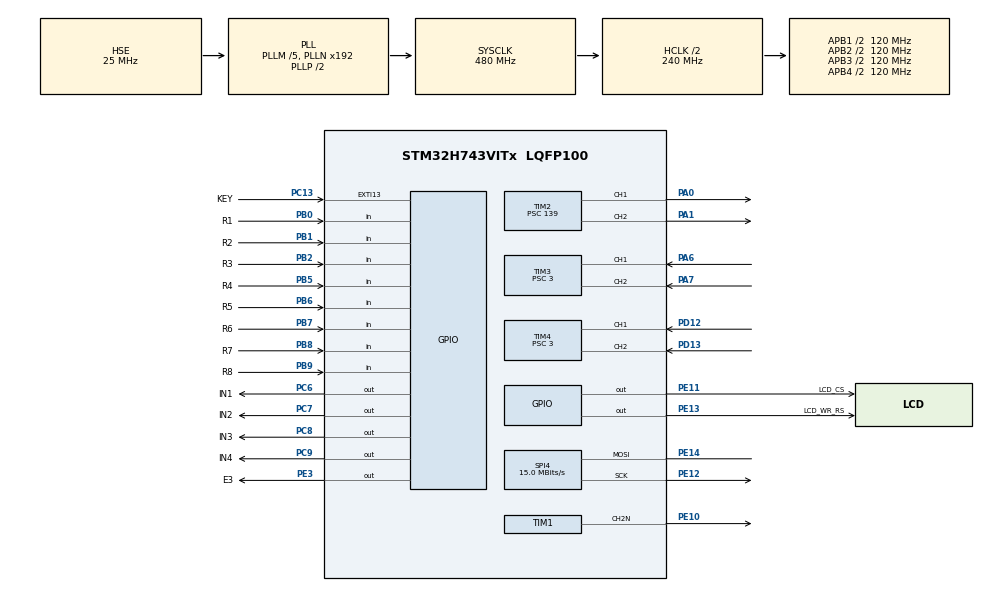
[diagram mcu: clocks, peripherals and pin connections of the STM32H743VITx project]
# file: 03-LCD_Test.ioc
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Mcu.Family=STM32H7
Mcu.Name=STM32H743VITx
Mcu.Package=LQFP100
NVIC.PriorityGroup=NVIC_PRIORITYGROUP_4
NVIC.TIM7_IRQn=true\:0\:0\:false\:false\:true\:true\:true
PA0.Signal=S_TIM2_CH1
PA1.Signal=S_TIM2_CH2
PA13\ (JTMS/SWDIO).Mode=Serial_Wire
PA13\ (JTMS/SWDIO).Signal=DEBUG_JTMS-SWDIO
PA14\ (JTCK/SWCLK).Mode=Serial_Wire
PA14\ (JTCK/SWCLK).Signal=DEBUG_JTCK-SWCLK
PA6.Signal=S_TIM3_CH1
PA7.Signal=S_TIM3_CH2
PB0.GPIO_Label=R1
PB0.Signal=GPIO_Input
PB1.GPIO_Label=R2
PB1.Signal=GPIO_Input
PB2.GPIO_Label=R3
PB2.Signal=GPIO_Input
PB5.GPIO_Label=R4
PB5.Signal=GPIO_Input
PB6.GPIO_Label=R5
PB6.Signal=GPIO_Input
PB7.GPIO_Label=R6
PB7.Signal=GPIO_Input
PB8.GPIO_Label=R7
PB8.Signal=GPIO_Input
PB9.GPIO_Label=R8
PB9.Signal=GPIO_Input
PC13.GPIO_Label=KEY
PC13.Signal=GPXTI13
PC14-OSC32_IN\ (OSC32_IN).Mode=LSE-External-Oscillator
PC14-OSC32_IN\ (OSC32_IN).Signal=RCC_OSC32_IN
PC15-OSC32_OUT\ (OSC32_OUT).Mode=LSE-External-Oscillator
PC15-OSC32_OUT\ (OSC32_OUT).Signal=RCC_OSC32_OUT
PC6.GPIO_Label=IN1
PC6.Signal=GPIO_Output
PC7.GPIO_Label=IN2
PC7.Signal=GPIO_Output
PC8.GPIO_Label=IN3
PC8.Signal=GPIO_Output
PC9.GPIO_Label=IN4
PC9.Signal=GPIO_Output
PD12.Signal=S_TIM4_CH1
PD13.Signal=S_TIM4_CH2
PE10.Mode=PWM Generation2 CH2N
PE10.Signal=TIM1_CH2N
PE11.GPIO_Label=LCD_CS
PE11.GPIO_Speed=GPIO_SPEED_FREQ_VERY_HIGH
PE11.PinState=GPIO_PIN_SET
PE11.Signal=GPIO_Output
PE12.GPIO_Speed=GPIO_SPEED_FREQ_HIGH
PE12.Mode=Simplex_Bidirectional_Master
PE12.Signal=SPI4_SCK
PE13.GPIO_Label=LCD_WR_RS
PE13.GPIO_Speed=GPIO_SPEED_FREQ_VERY_HIGH
PE13.PinState=GPIO_PIN_SET
PE13.Signal=GPIO_Output
PE14.GPIO_Speed=GPIO_SPEED_FREQ_HIGH
PE14.Mode=Simplex_Bidirectional_Master
PE14.Signal=SPI4_MOSI
PE3.GPIO_Label=E3
PE3.PinState=GPIO_PIN_RESET
PE3.Signal=GPIO_Output
PH0-OSC_IN\ (PH0).Mode=HSE-External-Oscillator
PH0-OSC_IN\ (PH0).Signal=RCC_OSC_IN
PH1-OSC_OUT\ (PH1).Mode=HSE-External-Oscillator
PH1-OSC_OUT\ (PH1).Signal=RCC_OSC_OUT
ProjectManager.HeapSize=0x200
ProjectManager.StackSize=0x400
ProjectManager.TargetToolchain=MDK-ARM V5.27
RCC.ADCFreq_Value=83333333.33333333
RCC.APB1Freq_Value=120000000
RCC.APB2Freq_Value=120000000
RCC.APB3Freq_Value=120000000
RCC.APB4Freq_Value=120000000
RCC.CortexFreq_Value=480000000
RCC.D1PPRE=RCC_APB3_DIV2
RCC.D2PPRE1=RCC_APB1_DIV2
RCC.D2PPRE2=RCC_APB2_DIV2
RCC.D3PPRE=RCC_APB4_DIV2
RCC.DIVM1=5
RCC.DIVM2=6
RCC.DIVN1=192
RCC.DIVN2=40
RCC.DIVQ2=1
RCC.HCLKFreq_Value=240000000
RCC.HPRE=RCC_HCLK_DIV2
RCC.HSE_VALUE=25000000
RCC.PLLFRACN=0
RCC.PLLSourceVirtual=RCC_PLLSOURCE_HSE
RCC.RTCClockSelection=RCC_RTCCLKSOURCE_LSE
RCC.SYSCLKFreq_VALUE=480000000
RCC.SYSCLKSource=RCC_SYSCLKSOURCE_PLLCLK
RCC.USBFreq_Value=480000000
RTC.Hours=12
RTC.Month=RTC_MONTH_JUNE
RTC.Year=20
SH.S_TIM2_CH1.0=TIM2_CH1,PWM Generation1 CH1
SH.S_TIM2_CH2.0=TIM2_CH2,PWM Generation2 CH2
SH.S_TIM3_CH1.0=TIM3_CH1,Encoder_Interface
SH.S_TIM3_CH2.0=TIM3_CH2,Encoder_Interface
SH.S_TIM4_CH1.0=TIM4_CH1,Encoder_Interface
SH.S_TIM4_CH2.0=TIM4_CH2,Encoder_Interface
SPI4.BaudRatePrescaler=SPI_BAUDRATEPRESCALER_8
SPI4.CalculateBaudRate=15.0 MBits/s
SPI4.DataSize=SPI_DATASIZE_8BIT
SPI4.Direction=SPI_DIRECTION_1LINE
SPI4.Mode=SPI_MODE_MASTER
SPI4.VirtualType=VM_MASTER
TIM1.Channel-PWM\ Generation2\ CH2N=TIM_CHANNEL_2
TIM1.OCNPolarity_2=TIM_OCNPOLARITY_LOW
TIM1.Period=1000-1
TIM1.Prescaler=12-1
TIM2.AutoReloadPreload=TIM_AUTORELOAD_PRELOAD_ENABLE
TIM2.Channel-PWM\ Generation1\ CH1=TIM_CHANNEL_1
TIM2.Channel-PWM\ Generation2\ CH2=TIM_CHANNEL_2
TIM2.Period=999
TIM2.Prescaler=139
TIM3.AutoReloadPreload=TIM_AUTORELOAD_PRELOAD_ENABLE
TIM3.EncoderMode=TIM_ENCODERMODE_TI12
TIM3.Period=38999
TIM3.Prescaler=3
TIM4.AutoReloadPreload=TIM_AUTORELOAD_PRELOAD_ENABLE
TIM4.EncoderMode=TIM_ENCODERMODE_TI12
TIM4.Period=38999
TIM4.Prescaler=3
TIM7.AutoReloadPreload=TIM_AUTORELOAD_PRELOAD_ENABLE
TIM7.Period=999
TIM7.Prescaler=4399
VP_RTC_VS_RTC_Activate.Mode=RTC_Enabled
VP_RTC_VS_RTC_Calendar.Mode=RTC_Calendar
VP_TIM7_VS_ClockSourceINT.Mode=Enable_Timer
board=custom

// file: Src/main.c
/* USER CODE BEGIN Header */
/**
  ******************************************************************************
  * @file           : main.c
  * @brief          : Main program body
  ******************************************************************************
  * @attention
  *
  * <h2><center>&copy; Copyright (c) 2020 STMicroelectronics.
  * All rights reserved.</center></h2>
  *
  * This software component is licensed by ST under BSD 3-Clause license,
  * the "License"; You may not use this file except in compliance with the
  * License. You may obtain a copy of the License at:
  *                        opensource.org/licenses/BSD-3-Clause
  *
  ******************************************************************************
  */
/* USER CODE END Header */
#include "main.h"
#include "rtc.h"
#include "spi.h"
#include "tim.h"
#include "gpio.h"

/* USER CODE BEGIN Includes */
#include "lcd.h"
#include "pid.h"
#include "control.h"
#include "stdlib.h"
#include "stdio.h"
#include "string.h"
/* USER CODE END Includes */

/* USER CODE BEGIN PTD */
static uint8_t Motor = 0;
static uint16_t Xunlu = 1;
uint8_t Mode_Set = 0 ;

/* USER CODE END PTD */

void SystemClock_Config(void);

/* USER CODE BEGIN 0 */
static void MPU_Config(void)
{
  MPU_Region_InitTypeDef MPU_InitStruct = {0};

  /* Disables the MPU */
  HAL_MPU_Disable();

	/* Configure the MPU attributes for the QSPI 256MB without instruction access */
  MPU_InitStruct.Enable           = MPU_REGION_ENABLE;
  MPU_InitStruct.Number           = MPU_REGION_NUMBER0;
  MPU_InitStruct.BaseAddress      = QSPI_BASE;
  MPU_InitStruct.Size             = MPU_REGION_SIZE_256MB;
  MPU_InitStruct.AccessPermission = MPU_REGION_NO_ACCESS;
  MPU_InitStruct.IsBufferable     = MPU_ACCESS_NOT_BUFFERABLE;
  MPU_InitStruct.IsCacheable      = MPU_ACCESS_NOT_CACHEABLE;
  MPU_InitStruct.IsShareable      = MPU_ACCESS_NOT_SHAREABLE;
  MPU_InitStruct.DisableExec      = MPU_INSTRUCTION_ACCESS_DISABLE;
  MPU_InitStruct.TypeExtField     = MPU_TEX_LEVEL1;
  MPU_InitStruct.SubRegionDisable = 0x00;
  HAL_MPU_ConfigRegion(&MPU_InitStruct);

  /* Configure the MPU attributes for the QSPI 8MB (QSPI Flash Size) to Cacheable WT */
  MPU_InitStruct.Enable           = MPU_REGION_ENABLE;
  MPU_InitStruct.Number           = MPU_REGION_NUMBER1;
  MPU_InitStruct.BaseAddress      = QSPI_BASE;
  MPU_InitStruct.Size             = MPU_REGION_SIZE_8MB;
  MPU_InitStruct.AccessPermission = MPU_REGION_PRIV_RO;
  MPU_InitStruct.IsBufferable     = MPU_ACCESS_BUFFERABLE;
  MPU_InitStruct.IsCacheable      = MPU_ACCESS_CACHEABLE;
  MPU_InitStruct.IsShareable      = MPU_ACCESS_NOT_SHAREABLE;
  MPU_InitStruct.DisableExec      = MPU_INSTRUCTION_ACCESS_ENABLE;
  MPU_InitStruct.TypeExtField     = MPU_TEX_LEVEL1;
  MPU_InitStruct.SubRegionDisable = 0x00;
  HAL_MPU_ConfigRegion(&MPU_InitStruct);

  /* Enables the MPU */
  HAL_MPU_Enable(MPU_PRIVILEGED_DEFAULT);
}

static void CPU_CACHE_Enable(void)
{
  /* Enable I-Cache */
  SCB_EnableICache();

  /* Enable D-Cache */
  SCB_EnableDCache();
}

static void LED_Blink(uint32_t Hdelay,uint32_t Ldelay)
{
	HAL_GPIO_WritePin(E3_GPIO_Port,E3_Pin,GPIO_PIN_SET);
	HAL_Delay(Hdelay - 1);
	HAL_GPIO_WritePin(E3_GPIO_Port,E3_Pin,GPIO_PIN_RESET);
	HAL_Delay(Ldelay-1);
}

/**
  * @brief  Get the current time and date.
  * @param
  * @retval None
  */
static void RTC_CalendarShow(RTC_DateTypeDef *sdatestructureget,RTC_TimeTypeDef *stimestructureget)
{
  /* 必须同时获取时间和日期 不然会导致下次RTC不能读取 */
  /* Both time and date must be obtained or RTC cannot be read next time */
  /* Get the RTC current Time */
  HAL_RTC_GetTime(&hrtc, stimestructureget, RTC_FORMAT_BIN);
  /* Get the RTC current Date */
  HAL_RTC_GetDate(&hrtc, sdatestructureget, RTC_FORMAT_BIN);
}

/* USER CODE END 0 */

int main(void)
{
  /* USER CODE BEGIN 1 */

  #ifdef W25Qxx
    SCB->VTOR = QSPI_BASE;
  #endif
  MPU_Config();
  CPU_CACHE_Enable();
	double Res = 0;
	uint8_t Res_num = 0;
	int pwm_ab = 0;
//	uint8_t Right_Flag = 0;
	uint8_t Stop_Flag = 0;
	uint8_t Star_Flag = 0;
  /* USER CODE END 1 */

  /* MCU Configuration--------------------------------------------------------*/

  /* Reset of all peripherals, Initializes the Flash interface and the Systick. */
  HAL_Init();

  /* Configure the system clock */
  SystemClock_Config();

  /* Initialize all configured peripherals */
  MX_GPIO_Init();
  MX_RTC_Init();
  MX_SPI4_Init();
  MX_TIM1_Init();
  MX_TIM3_Init();
  MX_TIM4_Init();
  MX_TIM2_Init();
  MX_TIM7_Init();
  /* USER CODE BEGIN 2 */
	LCD_Test();

//	__HAL_TIM_SetCompare(&htim2,TIM_CHANNEL_1,300-1);//调试用
//	__HAL_TIM_SetCompare(&htim2,TIM_CHANNEL_2,300-1);//调试用

	HAL_TIM_Encoder_Start(&htim3, TIM_CHANNEL_1); // 开启编码器A0
	HAL_TIM_Encoder_Start(&htim3, TIM_CHANNEL_2); // 开启编码器A1
	HAL_TIM_Encoder_Start(&htim4, TIM_CHANNEL_1); // 开启编码器B0
	HAL_TIM_Encoder_Start(&htim4, TIM_CHANNEL_2); // 开启编码器B1

  /* USER CODE END 2 */

  /* Infinite loop */
  /* USER CODE BEGIN WHILE */
	uint8_t text[20];
	HAL_GPIO_WritePin(IN1_GPIO_Port,IN1_Pin,GPIO_PIN_RESET);	//电机方向
	HAL_GPIO_WritePin(IN2_GPIO_Port,IN2_Pin,GPIO_PIN_SET);
	HAL_GPIO_WritePin(IN3_GPIO_Port,IN3_Pin,GPIO_PIN_RESET);
	HAL_GPIO_WritePin(IN4_GPIO_Port,IN4_Pin,GPIO_PIN_SET);
	HAL_Delay(500);
	Star_Flag = 1;
  while (1)
  {
//	if(HAL_GPIO_ReadPin(KEY_GPIO_Port,KEY_Pin)==RESET){
//		Star_Flag = 1;
//	}
	if(Star_Flag == 1){
		HAL_TIM_PWM_Start(&htim2,TIM_CHANNEL_1);
		HAL_TIM_PWM_Start(&htim2,TIM_CHANNEL_2);
		__HAL_TIM_SetCompare(&htim2,TIM_CHANNEL_1,200);
		__HAL_TIM_SetCompare(&htim2,TIM_CHANNEL_2,200);
		HAL_Delay(1);  //1ms启动电机时间
		HAL_TIM_Base_Start_IT(&htim7);                // 使能定时器中断(10ms)
	}
	if(Stop_Flag == 1){
		HAL_TIM_PWM_Stop(&htim2,TIM_CHANNEL_1);
		HAL_TIM_PWM_Stop(&htim2,TIM_CHANNEL_2);
		HAL_TIM_Base_Stop_IT(&htim7);                // 使能定时器中断(10ms)
	}

	while(Star_Flag == 1){
		  /* 调速 */
		if( Motor == 1 &&  Xunlu==2){
				//LED_Blink(3,500);

				//*********电机1**********//
				MotorOutput1 = SpeedInnerControl1(MotorSpeed1,SpeedTarget1);//PID控制器，取回占空比

				sprintf((char *)&text,"Mpd1:%d,Mot1:%d       ",MotorSpeed1,MotorOutput1);
				LCD_ShowString(4, 38, 160, 14, 14, text);

				if(MotorOutput1 < 0){		//减速
					__HAL_TIM_SetCompare(&htim2,TIM_CHANNEL_1,abs(MotorOutput1));

				}
				else{						//加速
					__HAL_TIM_SetCompare(&htim2,TIM_CHANNEL_1,MotorOutput1);

				}
				//*********电机2**********//
				MotorOutput2 = SpeedInnerControl2(MotorSpeed2,SpeedTarget2);//PID控制器，取回占空比

				sprintf((char *)&text,"Mpd2:%d,Mot2:%d       ",MotorSpeed2,MotorOutput2);
				LCD_ShowString(4, 55, 160, 14, 14, text);

				if(MotorOutput2 < 0){		//减速
					__HAL_TIM_SetCompare(&htim2,TIM_CHANNEL_2,abs(MotorOutput2));

				}
				else{						//加速
					__HAL_TIM_SetCompare(&htim2,TIM_CHANNEL_2,MotorOutput2);

				}
	//			sprintf((char *)&text,"POt1:%d,POt2:%d\r\n",abs(MotorOutput1),abs(MotorOutput2));
	//			LCD_ShowString(4, 22, 160, 14, 14, text);
	//			sprintf((char *)&aTxBuffer,"Mpd2=%d,Mpd1=%d,",MotorSpeed2,MotorSpeed1);
	//			HAL_UART_Transmit(&huart2, (uint8_t *)aTxBuffer, sizeof(aTxBuffer),10);

				Motor = 0;
				Xunlu = 3;
			}

		  /* 巡线控制 */
			if(	 Xunlu == 1 && Stop_Flag == 0){

				Res = 0;
				Res_num = 0;
				SpeedTarget1 = 100;
				SpeedTarget2 = 100;
				if(HAL_GPIO_ReadPin(R5_GPIO_Port,R5_Pin)==SET  || HAL_GPIO_ReadPin(R3_GPIO_Port,R3_Pin)==SET ||
				    HAL_GPIO_ReadPin(R4_GPIO_Port,R4_Pin)==SET || HAL_GPIO_ReadPin(R6_GPIO_Port,R6_Pin)==SET    ||
				    HAL_GPIO_ReadPin(R7_GPIO_Port,R7_Pin)==SET || HAL_GPIO_ReadPin(R2_GPIO_Port,R2_Pin)==SET
					){//等待非全白 进行调整

//					__HAL_TIM_SetCompare(&htim2,TIM_CHANNEL_1,0);
//					__HAL_TIM_SetCompare(&htim2,TIM_CHANNEL_2,0);

					HAL_GPIO_TogglePin(E3_GPIO_Port,E3_Pin);
		//			if(HAL_GPIO_ReadPin(R1_GPIO_Port,R1_Pin)==SET)	{Res -=160;Res_num+=1;}		//右偏限位
					if(HAL_GPIO_ReadPin(R2_GPIO_Port,R2_Pin)==SET)	{Res =-90;Res_num+=1;}
					if(HAL_GPIO_ReadPin(R3_GPIO_Port,R3_Pin)==SET)	{Res =-60;Res_num+=1;}
					if(HAL_GPIO_ReadPin(R4_GPIO_Port,R4_Pin)==SET)	{Res =-30;Res_num+=1;}	//右偏
					if(HAL_GPIO_ReadPin(R5_GPIO_Port,R5_Pin)==SET)	{Res =100;Res_num+=1;}	//巡线中位
					if(HAL_GPIO_ReadPin(R6_GPIO_Port,R6_Pin)==SET)	{Res =130;Res_num+=1;}	//左偏
					if(HAL_GPIO_ReadPin(R7_GPIO_Port,R7_Pin)==SET)	{Res =160;Res_num+=1;}
		//			if(HAL_GPIO_ReadPin(R8_GPIO_Port,R1_Pin)==RESET)	{Res +=190;Res_num+=1;}		//左偏限
				}

//	//			while(HAL_GPIO_ReadPin(R5_GPIO_Port,R1_Pin)==RESET);
//	//			__HAL_TIM_SetCompare(&htim2,TIM_CHANNEL_1,0);
//	//			__HAL_TIM_SetCompare(&htim2,TIM_CHANNEL_2,0);

				if(Res != 100){
					//pwm_ab = PID_Postion(Res,100);									//改变目标值

					sprintf((char *)&text,"Re:%.2lf N:%d P:%d        ",Res,Res_num,pwm_ab);
					LCD_ShowString(4, 6, 160, 14, 14, text);
					SpeedTarget1 += Res;
					SpeedTarget2 -= Res;
					sprintf((char *)&text,"ST1:%d,ST2:%d        ",SpeedTarget1,SpeedTarget2);
					LCD_ShowString(4, 22, 160, 14, 14, text);
				}
				else if (Res == 100){
					SpeedTarget1 = 100;
					SpeedTarget2 = 100;
					sprintf((char *)&text,"ST1:%d,ST2:%d        ",SpeedTarget1,SpeedTarget2);
					LCD_ShowString(4, 22, 160, 14, 14, text);
				}
	//			else if (Res == 0 && Right_Flag == 0){				//前方无线，执行转(右)向
	//				HAL_GPIO_WritePin(IN1_GPIO_Port,IN1_Pin,GPIO_PIN_SET);	//电机方向
	//				HAL_GPIO_WritePin(IN2_GPIO_Port,IN2_Pin,GPIO_PIN_RESET);
	//				__HAL_TIM_SetCompare(&htim2,TIM_CHANNEL_1,350);
	//				__HAL_TIM_SetCompare(&htim2,TIM_CHANNEL_2,-350);
	//				HAL_Delay(2);
	//				HAL_GPIO_WritePin(IN1_GPIO_Port,IN1_Pin,GPIO_PIN_RESET);	//电机方向
	//				HAL_GPIO_WritePin(IN2_GPIO_Port,IN2_Pin,GPIO_PIN_SET);
	//				Right_Flag = 1;
	//			}

				if( Res_num >3){
					sprintf((char *)&text,"stop              ");
					LCD_ShowString(4, 6, 160, 14, 14, text);
					Star_Flag = 0;
				}
				Xunlu =2;

			}
	}
	while(Stop_Flag == 1){

		LED_Blink(3,800);
	}

//		LED_Blink(3,500);

    /* USER CODE END WHILE */

  }
}

void SystemClock_Config(void)
{
  RCC_OscInitTypeDef RCC_OscInitStruct = {0};
  RCC_ClkInitTypeDef RCC_ClkInitStruct = {0};
  RCC_PeriphCLKInitTypeDef PeriphClkInitStruct = {0};

  /** Supply configuration update enable
  */
  HAL_PWREx_ConfigSupply(PWR_LDO_SUPPLY);
  /** Configure the main internal regulator output voltage
  */
  __HAL_PWR_VOLTAGESCALING_CONFIG(PWR_REGULATOR_VOLTAGE_SCALE0);

  while(!__HAL_PWR_GET_FLAG(PWR_FLAG_VOSRDY)) {}
  /** Configure LSE Drive Capability
  */
  HAL_PWR_EnableBkUpAccess();
  __HAL_RCC_LSEDRIVE_CONFIG(RCC_LSEDRIVE_LOW);
  /** Initializes the RCC Oscillators according to the specified parameters
  * in the RCC_OscInitTypeDef structure.
  */
  RCC_OscInitStruct.OscillatorType = RCC_OSCILLATORTYPE_HSE|RCC_OSCILLATORTYPE_LSE;
  RCC_OscInitStruct.HSEState = RCC_HSE_ON;
  RCC_OscInitStruct.LSEState = RCC_LSE_ON;
  RCC_OscInitStruct.PLL.PLLState = RCC_PLL_ON;
  RCC_OscInitStruct.PLL.PLLSource = RCC_PLLSOURCE_HSE;
  RCC_OscInitStruct.PLL.PLLM = 5;
  RCC_OscInitStruct.PLL.PLLN = 192;
  RCC_OscInitStruct.PLL.PLLP = 2;
  RCC_OscInitStruct.PLL.PLLQ = 2;
  RCC_OscInitStruct.PLL.PLLR = 2;
  RCC_OscInitStruct.PLL.PLLRGE = RCC_PLL1VCIRANGE_2;
  RCC_OscInitStruct.PLL.PLLVCOSEL = RCC_PLL1VCOWIDE;
  RCC_OscInitStruct.PLL.PLLFRACN = 0;
  if (HAL_RCC_OscConfig(&RCC_OscInitStruct) != HAL_OK)
  {
    Error_Handler();
  }
  /** Initializes the CPU, AHB and APB buses clocks
  */
  RCC_ClkInitStruct.ClockType = RCC_CLOCKTYPE_HCLK|RCC_CLOCKTYPE_SYSCLK
                              |RCC_CLOCKTYPE_PCLK1|RCC_CLOCKTYPE_PCLK2
                              |RCC_CLOCKTYPE_D3PCLK1|RCC_CLOCKTYPE_D1PCLK1;
  RCC_ClkInitStruct.SYSCLKSource = RCC_SYSCLKSOURCE_PLLCLK;
  RCC_ClkInitStruct.SYSCLKDivider = RCC_SYSCLK_DIV1;
  RCC_ClkInitStruct.AHBCLKDivider = RCC_HCLK_DIV2;
  RCC_ClkInitStruct.APB3CLKDivider = RCC_APB3_DIV2;
  RCC_ClkInitStruct.APB1CLKDivider = RCC_APB1_DIV2;
  RCC_ClkInitStruct.APB2CLKDivider = RCC_APB2_DIV2;
  RCC_ClkInitStruct.APB4CLKDivider = RCC_APB4_DIV2;

  if (HAL_RCC_ClockConfig(&RCC_ClkInitStruct, FLASH_LATENCY_4) != HAL_OK)
  {
    Error_Handler();
  }
  PeriphClkInitStruct.PeriphClockSelection = RCC_PERIPHCLK_RTC|RCC_PERIPHCLK_SPI4;
  PeriphClkInitStruct.Spi45ClockSelection = RCC_SPI45CLKSOURCE_D2PCLK1;
  PeriphClkInitStruct.RTCClockSelection = RCC_RTCCLKSOURCE_LSE;
  if (HAL_RCCEx_PeriphCLKConfig(&PeriphClkInitStruct) != HAL_OK)
  {
    Error_Handler();
  }
}

/* USER CODE BEGIN 4 */
void HAL_TIM_PeriodElapsedCallback(TIM_HandleTypeDef *htim)
{
    static unsigned char i = 0;
    if (htim == (&htim7))
    {

        // 1.获取电机速度
        GetMotorPulse();

        // 3.将占空比导入至电机控制函数
        i++;
		if(i>2 && Xunlu >2 ){		  Xunlu = 1; }

        if(i>3 && Motor ==0){
		  //HAL_GPIO_TogglePin(GPIOD, GPIO_PIN_2);
   		  //Xunlu++;
		  Motor = 1;
          i=0;
        }
    }
}
//void EXTI15_10_IRQHandler(void)
//{
//  /* USER CODE BEGIN EXTI15_10_IRQn 0 */

//  /* USER CODE END EXTI15_10_IRQn 0 */
//  HAL_GPIO_EXTI_IRQHandler(GPIO_PIN_13);
//  /* USER CODE BEGIN EXTI15_10_IRQn 1 */
//	if(Star_Flag != 1){
//		Star_Flag = 1;
//	}
//  /* USER CODE END EXTI15_10_IRQn 1 */
//}
///* USER CODE END 4 */

void Error_Handler(void)
{
  /* USER CODE BEGIN Error_Handler_Debug */
  /* User can add his own implementation to report the HAL error return state */
  LED_Blink(500,500);
  /* USER CODE END Error_Handler_Debug */
}

/************************ (C) COPYRIGHT STMicroelectronics *****END OF FILE****/
